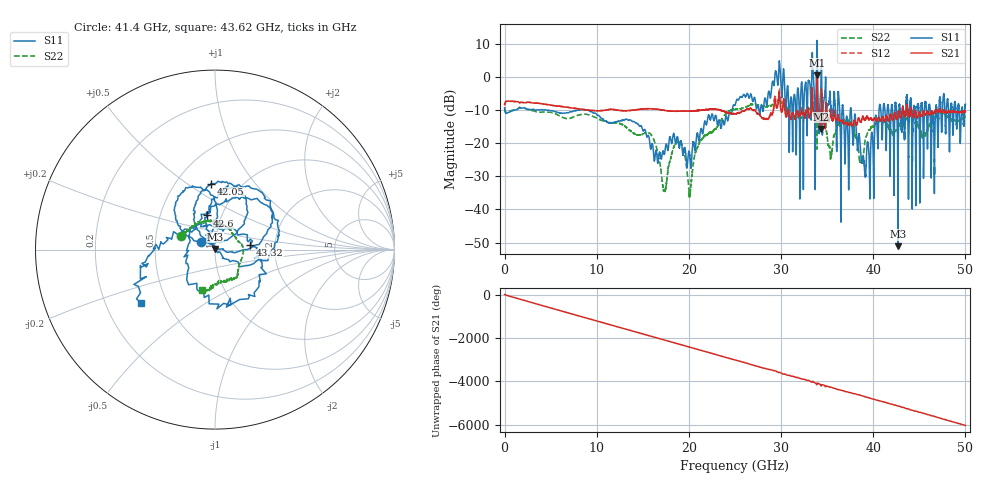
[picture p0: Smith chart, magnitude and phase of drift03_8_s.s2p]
!Created with skrf (http://scikit-rf.org).
# Hz S RI R 50.0
!freq ReS11 ImS11 ReS21 ImS21 ReS12 ImS12 ReS22 ImS22
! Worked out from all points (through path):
!   10001 points, 300 kHz to 50 GHz, reference 50 ohm
!   highest |S21| = 0.43 dB at 33.9 GHz (marker M1); lowest = -15.7 dB at 34.32 GHz (marker M2)
!   group delay of S21, straight-line fit = 335 ps
!   lowest |S11| = -51.1 dB at 42.68 GHz (marker M3), VSWR 1.01, Z = 50 + j0.277 ohm
!   |S11| at or under -10 dB: 4.473 GHz to 7.947 GHz (3.474 GHz wide, 55.9 % of centre); 9.011 GHz to 24.7 GHz (15.69 GHz wide, 93.1 % of centre); 37.6 GHz to 40.63 GHz (3.028 GHz wide, 7.74 % of centre) (the widest 3 of 68)
!   |S22| runs from -36.3 to -6.0 dB; largest |S21 - S12| = 0.11
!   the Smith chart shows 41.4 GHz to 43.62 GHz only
!   S11 on the Smith chart (normalised r, x): 41.4 GHz: 0.85, +0.08; 42.05 GHz: 0.73, +0.62; 42.6 GHz: 0.85, +0.34; 43.32 GHz: 1.48, +0.07; 43.62 GHz: 0.36, -0.29
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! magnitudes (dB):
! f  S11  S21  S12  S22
! 300 kHz  -9.3  -8.4  -8.4  -9.3
! 8.335 GHz  -9.9  -9.8  -9.8  -11.4
! 16.67 GHz  -25.5  -9.8  -9.8  -23.6
! 17.35 GHz  -23.2  -10.1  -10.1  -34.0
! 19.04 GHz  -20.5  -10.3  -10.4  -19.9
! 20.11 GHz  -23.8  -10.3  -10.3  -34.7
! 25 GHz  -8.6  -11.1  -11.1  -9.8
! 31.08 GHz  -6.1  -12.7  -12.7  -10.5
! 33.34 GHz  0.1  -7.7  -7.8  -9.5
! 33.9 GHz  10.9  0.4  0.1  -18.8
! 34.32 GHz  -2.8  -15.7  -15.1  -11.4
! 35.34 GHz  -6.2  -10.6  -10.0  -24.2
! 36.72 GHz  -9.3  -13.7  -13.5  -12.8
! 38.99 GHz  -25.8  -12.6  -12.7  -22.0
! 41.4 GHz  -20.8  -12.0  -12.0  -13.8
! 41.67 GHz  -9.9  -13.3  -13.3  -14.9
! 42.05 GHz  -8.7  -12.8  -12.7  -17.0
! 42.6 GHz  -14.2  -12.6  -12.5  -16.0
! 42.68 GHz  -51.1  -11.4  -11.4  -15.8
! 43.32 GHz  -14.1  -10.8  -10.8  -13.5
! 43.62 GHz  -5.9  -9.5  -9.3  -12.5
! 50 GHz  -8.5  -10.4  -10.5  -12.1
